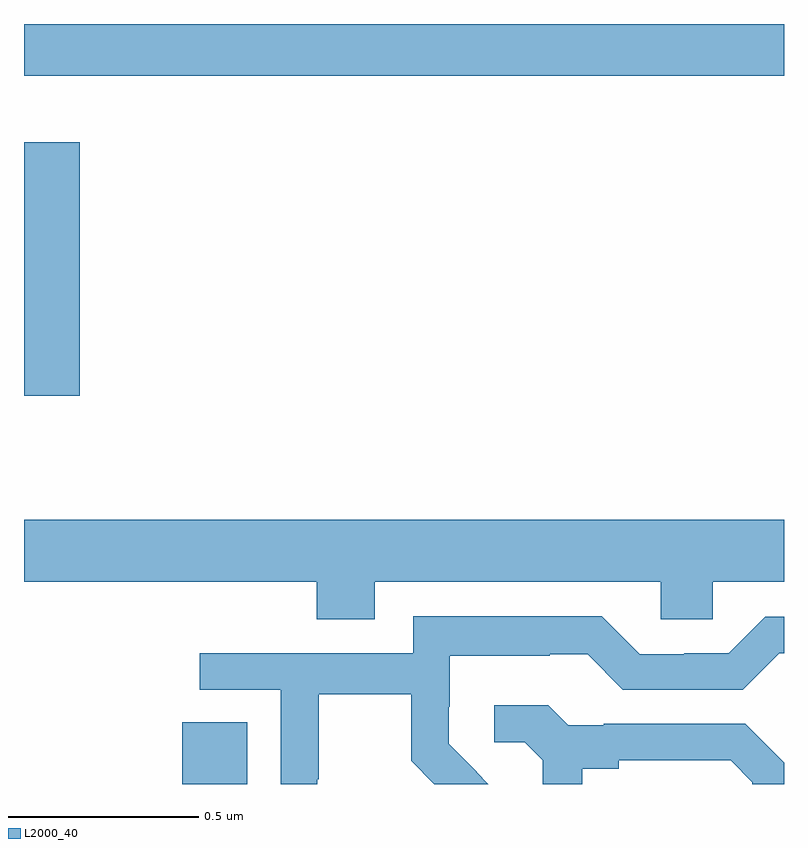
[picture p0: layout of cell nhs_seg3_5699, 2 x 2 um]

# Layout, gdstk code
import gdstk
lib = gdstk.Library(unit=1e-6, precision=1e-09)
def R(c, l, rs):  # rectangles x0, y0, x1, y1
    for r in rs: c.add(gdstk.rectangle(r[:2], r[2:], *l))
def P(c, l, *ps):  # polygons
    for p in ps: c.add(gdstk.Polygon(p, *l))
L2000_40 = (2000, 40)

nhs_seg3_5699 = lib.new_cell('nhs_seg3_5699')
R(nhs_seg3_5699, L2000_40, [(182.417,684.4,182.587,684.563), (182,685.422,182.147,686.089), (182,686.264,184,686.4)])
P(nhs_seg3_5699, L2000_40, [(182.923,684.932),(183.675,684.932),(183.675,684.834),(183.813,684.834),(183.813,684.932),(184,684.932),(184,685.096),(182,685.096),(182,684.932),(182.771,684.932),(182.771,684.833),(182.923,684.833)],
  [(182.772,684.412),(182.775,684.412),(182.775,684.636),(183.019,684.636),(183.019,684.461),(183.08,684.4),(183.222,684.4),(183.191,684.431),(183.192,684.432),(183.118,684.506),(183.118,684.603),(183.12,684.603),(183.12,684.737),(183.383,684.737),(183.383,684.741),(183.483,684.741),(183.576,684.648),(183.891,684.648),(183.987,684.744),(184,684.744),(184,684.84),(183.951,684.84),(183.855,684.744),(183.737,684.744),(183.737,684.741),(183.621,684.741),(183.521,684.841),(183.024,684.841),(183.024,684.744),(182.463,684.744),(182.463,684.648),(182.676,684.648),(182.676,684.4),(182.772,684.4)],
  [(183.469,684.44),(183.565,684.44),(183.565,684.462),(183.86,684.462),(183.917,684.405),(183.917,684.4),(184,684.4),(184,684.456),(183.898,684.558),(183.526,684.558),(183.526,684.555),(183.432,684.555),(183.38,684.607),(183.237,684.607),(183.237,684.51),(183.318,684.51),(183.365,684.463),(183.365,684.4),(183.469,684.4)])

lib.write_gds('nhs_seg3_5699.gds')
